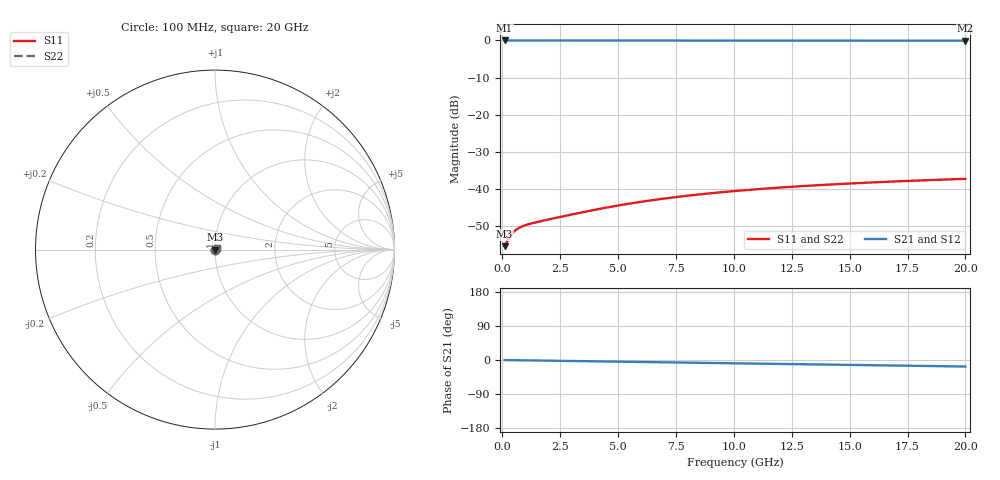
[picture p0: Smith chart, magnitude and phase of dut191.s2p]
! Touchstone file exported from HFSS 2026.1.0
!  File:  C:/ffzhzh/LocalFiles/Ansys_Project_Files/temp_train_TMRDL_191_1782983820_45328.aedt
!  Generated:  05:18:08 PM Jul  2, 2026
!  Design:  TMRDL
!  Project:  temp_train_TMRDL_191_1782983820_45328
! Variables:
!  h_bsmrdl = 2um
!  h_ox = 20um
!  h_rdl = 5um
!  h_sub = 80um
!  h_tmrdl = 2.91um
!  h_tsv = 80um
!  h_via = 3um
!  l_bsmrdl = 300um
!  l_sub = 694.13um
!  l_tmrdl = 294.13um
!  m_sub = 200um
!  pitch = 30.87um
!  r_tsv = 6um
!  s_tmrdl = 10um
!  w_bsmrdl = 18um
!  w_sub = 500um
!  w_tmrdl = 26.76um
!  x_tsv_center1 = 307.51um
!  x_tsv_center2 = 625.51um
!  x_tsv_center3 = 946.4um
!  x_tsv_center4 = 1264.4um
!  x_tsv_center5 = 1585.29um
!  x_tsv_center6 = 1903.29um
# GHz S MA R 50.000000
! Terminal data exported
! Port[1] = TM_RDL1_1_T1
! Port[2] = TM_RDL1_1_T2
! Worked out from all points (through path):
!   200 points, 100 MHz to 20 GHz, reference 50 ohm
!   highest |S21| = -0.01 dB at 100 MHz (marker M1); lowest = -0.1 dB at 20 GHz (marker M2)
!   group delay of S21, straight-line fit = 2.38 ps
!   lowest |S11| = -55.3 dB at 100 MHz (marker M3), VSWR 1.00, Z = 50.2 + j0.0383 ohm
!   |S11| at or under -10 dB: start of sweep to end of sweep
!   |S22| runs from -55.3 to -37.2 dB; largest |S21 - S12| = 3.6e-15
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0.1  0.001718 12.8  0.9983 -0.1  0.9983 -0.1  0.001718 12.8
! Gamma 0 0 0 0
! Port Impedance 50 0 50 0
0.3  0.00223 25.3  0.998 -0.3  0.998 -0.3  0.002229 25.3
0.4  0.00248 26.9  0.9978 -0.4  0.9978 -0.4  0.00248 26.9
0.5  0.002689 27.3  0.9976 -0.5  0.9976 -0.5  0.002689 27.4
0.6  0.002858 27.4  0.9975 -0.6  0.9975 -0.6  0.002859 27.5
0.7  0.002996 27.4  0.9974 -0.7  0.9974 -0.7  0.002997 27.5
0.8  0.00311 27.4  0.9973 -0.7  0.9973 -0.7  0.003111 27.5
1  0.00329 27.8  0.9971 -0.9  0.9971 -0.9  0.003292 27.8
1.4  0.003564 29.4  0.997 -1.3  0.997 -1.3  0.003566 29.4
2.3  0.004116 34.3  0.9967 -2.0  0.9967 -2.0  0.004118 34.3
3.5  0.004937 39.4  0.9964 -3.1  0.9964 -3.1  0.004938 39.4
4.3  0.005524 41.5  0.9961 -3.8  0.9961 -3.8  0.005525 41.5
5.1  0.006122 42.6  0.9958 -4.5  0.9958 -4.5  0.006123 42.6
5.9  0.006714 43.1  0.9955 -5.2  0.9955 -5.2  0.006715 43.1
6.8  0.007364 43.1  0.9951 -6.0  0.9951 -6.0  0.007365 43.1
8.4  0.008452 42.2  0.9945 -7.4  0.9945 -7.4  0.008454 42.2
10.1  0.0095 40.6  0.9938 -8.8  0.9938 -8.8  0.009503 40.6
11.7  0.01039 38.8  0.9931 -10.2  0.9931 -10.2  0.01039 38.8
13.4  0.01123 36.8  0.9925 -11.6  0.9925 -11.6  0.01124 36.8
15  0.01195 34.9  0.9919 -13.0  0.9919 -13.0  0.01195 34.9
16.7  0.01264 32.9  0.9913 -14.4  0.9913 -14.4  0.01264 32.9
20  0.0138 29.2  0.9903 -17.2  0.9903 -17.2  0.01381 29.2
